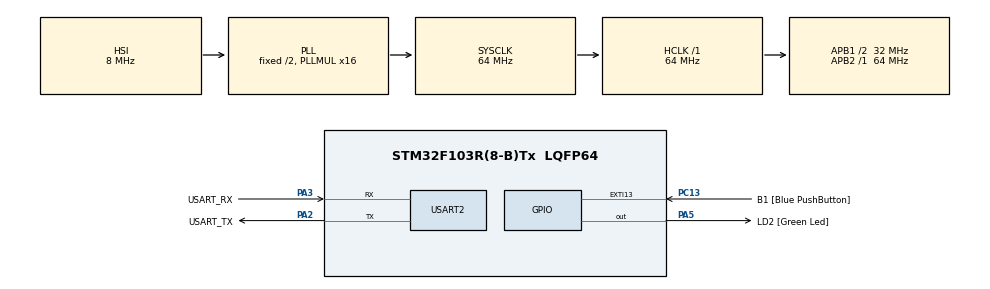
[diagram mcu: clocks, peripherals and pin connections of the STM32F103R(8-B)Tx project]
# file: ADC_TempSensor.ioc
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ADC1.Channel-0\#ChannelRegularConversion=ADC_CHANNEL_TEMPSENSOR
ADC1.ContinuousConvMode=ENABLE
ADC1.NbrOfConversionFlag=1
ADC1.Rank-0\#ChannelRegularConversion=1
ADC1.SamplingTime-0\#ChannelRegularConversion=ADC_SAMPLETIME_13CYCLES_5
ADC1.master=1
Mcu.Family=STM32F1
Mcu.Name=STM32F103R(8-B)Tx
Mcu.Package=LQFP64
NVIC.EXTI15_10_IRQn=true\:0\:0\:false\:false\:true\:true\:true\:true
NVIC.PriorityGroup=NVIC_PRIORITYGROUP_4
PA13.GPIO_Label=TMS
PA13.Mode=Serial_Wire
PA13.Signal=SYS_JTMS-SWDIO
PA14.GPIO_Label=TCK
PA14.Mode=Serial_Wire
PA14.Signal=SYS_JTCK-SWCLK
PA2.GPIO_Label=USART_TX
PA2.GPIO_Mode=GPIO_MODE_AF_PP
PA2.GPIO_PuPd=GPIO_NOPULL
PA2.GPIO_Speed=GPIO_SPEED_FREQ_LOW
PA2.Mode=Asynchronous
PA2.Signal=USART2_TX
PA3.GPIO_Label=USART_RX
PA3.GPIO_Mode=GPIO_MODE_AF_PP
PA3.GPIO_PuPd=GPIO_NOPULL
PA3.GPIO_Speed=GPIO_SPEED_FREQ_LOW
PA3.Mode=Asynchronous
PA3.Signal=USART2_RX
PA5.GPIO_Label=LD2 [Green Led]
PA5.GPIO_ModeDefaultOutputPP=GPIO_MODE_OUTPUT_PP
PA5.GPIO_PuPd=GPIO_NOPULL
PA5.GPIO_Speed=GPIO_SPEED_FREQ_LOW
PA5.Signal=GPIO_Output
PB3.GPIO_Label=SWO
PB3.Signal=SYS_JTDO-TRACESWO
PC13-TAMPER-RTC.GPIO_Label=B1 [Blue PushButton]
PC13-TAMPER-RTC.GPIO_PuPd=GPIO_NOPULL
PC13-TAMPER-RTC.Signal=GPXTI13
PC14-OSC32_IN.Signal=RCC_OSC32_IN
PC15-OSC32_OUT.Signal=RCC_OSC32_OUT
PD0-OSC_IN.Signal=RCC_OSC_IN
PD1-OSC_OUT.Signal=RCC_OSC_OUT
ProjectManager.HeapSize=0x200
ProjectManager.StackSize=0x400
ProjectManager.TargetToolchain=STM32CubeIDE
RCC.ADCPresc=RCC_ADCPCLK2_DIV8
RCC.AHBFreq_Value=64000000
RCC.APB1CLKDivider=RCC_HCLK_DIV2
RCC.APB1Freq_Value=32000000
RCC.APB1TimFreq_Value=64000000
RCC.APB2Freq_Value=64000000
RCC.APB2TimFreq_Value=64000000
RCC.HCLKFreq_Value=64000000
RCC.PLLMUL=RCC_PLL_MUL16
RCC.RTCClockSelection=RCC_RTCCLKSOURCE_LSE
RCC.SYSCLKFreq_VALUE=64000000
RCC.SYSCLKSource=RCC_SYSCLKSOURCE_PLLCLK
RCC.USBFreq_Value=64000000
USART2.VirtualMode=VM_ASYNC
VP_ADC1_TempSens_Input.Mode=IN-TempSens
board=NUCLEO-F103RB

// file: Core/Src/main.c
/* USER CODE BEGIN Header */
/**
  ******************************************************************************
  * @file           : main.c
  * @brief          : Main program body
  ******************************************************************************
  * @attention
  *
  * Copyright (c) 2024 STMicroelectronics.
  * All rights reserved.
  *
  * This software is licensed under terms that can be found in the LICENSE file
  * in the root directory of this software component.
  * If no LICENSE file comes with this software, it is provided AS-IS.
  *
  ******************************************************************************
  */
/* USER CODE END Header */
#include "main.h"

/* USER CODE BEGIN Includes */
#include <stdio.h>
/* USER CODE END Includes */

ADC_HandleTypeDef hadc1;

UART_HandleTypeDef huart2;

/* USER CODE BEGIN PV */
const float AVG_SLOPE = 4.3E-03f;			// slope (gradient) of temperature line function
const float V25 = 1.43f;					// sensor's voltage at 25'C [V]
const float ADC_TO_VOLT = 3.3f / 4096.0f;	// conversion coefficient of digital value to volt
/* USER CODE END PV */

void SystemClock_Config(void);
static void MX_GPIO_Init(void);
static void MX_USART2_UART_Init(void);
static void MX_ADC1_Init(void);

/* USER CODE BEGIN 0 */
#ifdef	__GNUC__
/*	with GCC, small printf calls __io_putchar()
	option LD Linker->Libraries->Small printf set to 'Yes' */
#define	PUTCHAR_PROTOTYPE	int __io_putchar(int ch)
#else
#define	PUTCHAR_PROTOTYPE	int fputc(int ch, FILE *f)
#endif	/* __GNUC__ */
/* Retargets the C library printf function to the USART */
PUTCHAR_PROTOTYPE
{
	if(ch == '\n')
		HAL_UART_Transmit(&huart2, (uint8_t*)"\r", 1, 0xFFFF);
	HAL_UART_Transmit(&huart2, (uint8_t*)&ch, 1, 0xFFFF);
	return ch;
}
/* USER CODE END 0 */

int main(void)
{

  /* USER CODE BEGIN 1 */
	uint16_t adc1;
	float vSense;	// sensor's output voltage [V]
	float temp;		// sensor's temperature ['C]
  /* USER CODE END 1 */

  /* MCU Configuration--------------------------------------------------------*/

  /* Reset of all peripherals, Initializes the Flash interface and the Systick. */
  HAL_Init();

  /* Configure the system clock */
  SystemClock_Config();

  /* Initialize all configured peripherals */
  MX_GPIO_Init();
  MX_USART2_UART_Init();
  MX_ADC1_Init();

  /* Infinite loop */
  /* USER CODE BEGIN WHILE */

  /* Start calibration */
  if(HAL_ADCEx_Calibration_Start(&hadc1) != HAL_OK) Error_Handler();
  /* Start the conversion process */
  if(HAL_ADC_Start(&hadc1) != HAL_OK) Error_Handler();

  while (1)
  {
	  HAL_ADC_PollForConversion(&hadc1, 100);
	  adc1 = HAL_ADC_GetValue(&hadc1);
	  // printf("ADC1_temperature: %d\n", adc1);

	  /*
	   * Reference Manual & Datasheet
	   *
	   * Temperature(in 'C)={(V25-VSENSE)/Avg_Slope}+25.
	   * Where,
	   * V25=VSENSE value for 25'C and
	   * Avg_Slope=Average Slope for curve between Temperature vs. VSENSE
	   * (given in mV/'C or uV/'C)
	   */
	  vSense = adc1 * ADC_TO_VOLT;
	  temp = (V25 - vSense) / AVG_SLOPE + 25.0f;
	  printf("temperature: %d, %f\n", adc1, temp);
    /* USER CODE END WHILE */

    /* USER CODE BEGIN 3 */
	  HAL_Delay(1000);
  }
  /* USER CODE END 3 */
}

void SystemClock_Config(void)
{
  RCC_OscInitTypeDef RCC_OscInitStruct = {0};
  RCC_ClkInitTypeDef RCC_ClkInitStruct = {0};
  RCC_PeriphCLKInitTypeDef PeriphClkInit = {0};

  /** Initializes the RCC Oscillators according to the specified parameters
  * in the RCC_OscInitTypeDef structure.
  */
  RCC_OscInitStruct.OscillatorType = RCC_OSCILLATORTYPE_HSI;
  RCC_OscInitStruct.HSIState = RCC_HSI_ON;
  RCC_OscInitStruct.HSICalibrationValue = RCC_HSICALIBRATION_DEFAULT;
  RCC_OscInitStruct.PLL.PLLState = RCC_PLL_ON;
  RCC_OscInitStruct.PLL.PLLSource = RCC_PLLSOURCE_HSI_DIV2;
  RCC_OscInitStruct.PLL.PLLMUL = RCC_PLL_MUL16;
  if (HAL_RCC_OscConfig(&RCC_OscInitStruct) != HAL_OK)
  {
    Error_Handler();
  }

  /** Initializes the CPU, AHB and APB buses clocks
  */
  RCC_ClkInitStruct.ClockType = RCC_CLOCKTYPE_HCLK|RCC_CLOCKTYPE_SYSCLK
                              |RCC_CLOCKTYPE_PCLK1|RCC_CLOCKTYPE_PCLK2;
  RCC_ClkInitStruct.SYSCLKSource = RCC_SYSCLKSOURCE_PLLCLK;
  RCC_ClkInitStruct.AHBCLKDivider = RCC_SYSCLK_DIV1;
  RCC_ClkInitStruct.APB1CLKDivider = RCC_HCLK_DIV2;
  RCC_ClkInitStruct.APB2CLKDivider = RCC_HCLK_DIV1;

  if (HAL_RCC_ClockConfig(&RCC_ClkInitStruct, FLASH_LATENCY_2) != HAL_OK)
  {
    Error_Handler();
  }
  PeriphClkInit.PeriphClockSelection = RCC_PERIPHCLK_ADC;
  PeriphClkInit.AdcClockSelection = RCC_ADCPCLK2_DIV8;
  if (HAL_RCCEx_PeriphCLKConfig(&PeriphClkInit) != HAL_OK)
  {
    Error_Handler();
  }
}

static void MX_ADC1_Init(void)
{

  ADC_ChannelConfTypeDef sConfig = {0};

  /** Common config
  */
  hadc1.Instance = ADC1;
  hadc1.Init.ScanConvMode = ADC_SCAN_DISABLE;
  hadc1.Init.ContinuousConvMode = ENABLE;
  hadc1.Init.DiscontinuousConvMode = DISABLE;
  hadc1.Init.ExternalTrigConv = ADC_SOFTWARE_START;
  hadc1.Init.DataAlign = ADC_DATAALIGN_RIGHT;
  hadc1.Init.NbrOfConversion = 1;
  if (HAL_ADC_Init(&hadc1) != HAL_OK)
  {
    Error_Handler();
  }

  /** Configure Regular Channel
  */
  sConfig.Channel = ADC_CHANNEL_TEMPSENSOR;
  sConfig.Rank = ADC_REGULAR_RANK_1;
  sConfig.SamplingTime = ADC_SAMPLETIME_13CYCLES_5;
  if (HAL_ADC_ConfigChannel(&hadc1, &sConfig) != HAL_OK)
  {
    Error_Handler();
  }

}

static void MX_USART2_UART_Init(void)
{

  huart2.Instance = USART2;
  huart2.Init.BaudRate = 115200;
  huart2.Init.WordLength = UART_WORDLENGTH_8B;
  huart2.Init.StopBits = UART_STOPBITS_1;
  huart2.Init.Parity = UART_PARITY_NONE;
  huart2.Init.Mode = UART_MODE_TX_RX;
  huart2.Init.HwFlowCtl = UART_HWCONTROL_NONE;
  huart2.Init.OverSampling = UART_OVERSAMPLING_16;
  if (HAL_UART_Init(&huart2) != HAL_OK)
  {
    Error_Handler();
  }

}

static void MX_GPIO_Init(void)
{
  GPIO_InitTypeDef GPIO_InitStruct = {0};

  /* GPIO Ports Clock Enable */
  __HAL_RCC_GPIOC_CLK_ENABLE();
  __HAL_RCC_GPIOD_CLK_ENABLE();
  __HAL_RCC_GPIOA_CLK_ENABLE();
  __HAL_RCC_GPIOB_CLK_ENABLE();

  /*Configure GPIO pin Output Level */
  HAL_GPIO_WritePin(LD2_GPIO_Port, LD2_Pin, GPIO_PIN_RESET);

  /*Configure GPIO pin : B1_Pin */
  GPIO_InitStruct.Pin = B1_Pin;
  GPIO_InitStruct.Mode = GPIO_MODE_IT_RISING;
  GPIO_InitStruct.Pull = GPIO_NOPULL;
  HAL_GPIO_Init(B1_GPIO_Port, &GPIO_InitStruct);

  /*Configure GPIO pin : LD2_Pin */
  GPIO_InitStruct.Pin = LD2_Pin;
  GPIO_InitStruct.Mode = GPIO_MODE_OUTPUT_PP;
  GPIO_InitStruct.Pull = GPIO_NOPULL;
  GPIO_InitStruct.Speed = GPIO_SPEED_FREQ_LOW;
  HAL_GPIO_Init(LD2_GPIO_Port, &GPIO_InitStruct);

  /* EXTI interrupt init*/
  HAL_NVIC_SetPriority(EXTI15_10_IRQn, 0, 0);
  HAL_NVIC_EnableIRQ(EXTI15_10_IRQn);

}

void Error_Handler(void)
{
  __disable_irq();
  while (1)
  {
  }
}
